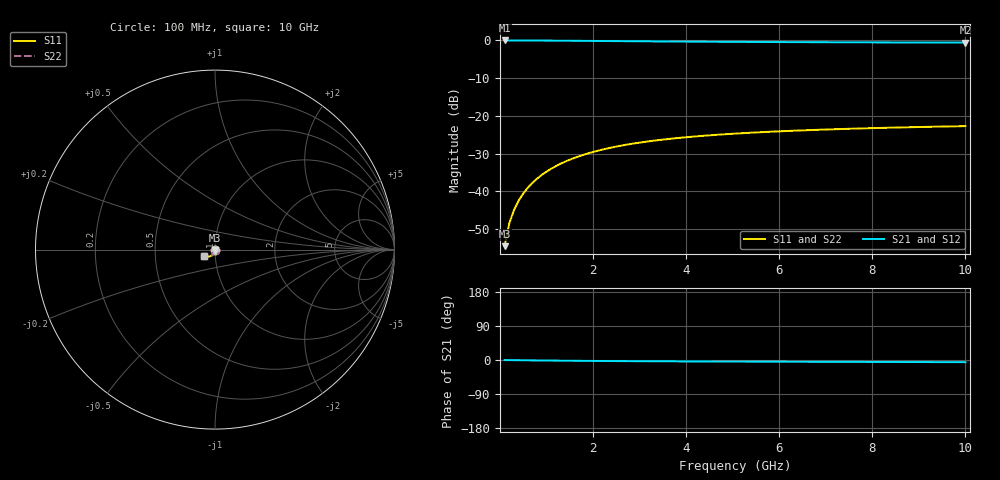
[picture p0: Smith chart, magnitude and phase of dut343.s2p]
! Touchstone file exported from HFSS 2024.1.0
!  File:  C:/UserFiles/LocalFiles/RDL_TSV_Batchsim/temp_TSV1_343_1779619244.aedt
!  Generated:  06:45:17 PM May 24, 2026
!  Design:  TSV1
!  Project:  temp_TSV1_343_1779619244
!  Setup:  Setup1
!  Solution:  Sweep
! Variables:
!  dtsv = 13.43um
!  hbump = 3um
!  htsv = 85.91um
!  lrdl = 252.1521522um
!  p = 40
!  p1 = 41.15um
!  t = 500um
!  trdl = 3um
!  wrdl = 24.89489489um
# GHz S MA R 50.000000
! Terminal data exported
! Port[1] = TSV22_T1
! Port[2] = TSV22_T2
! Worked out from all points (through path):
!   100 points, 100 MHz to 10 GHz, reference 50 ohm
!   highest |S21| = 0.00 dB at 100 MHz (marker M1); lowest = -0.6 dB at 10 GHz (marker M2)
!   lowest |S11| = -54.5 dB at 100 MHz (marker M3), VSWR 1.00, Z = 50 - j0.188 ohm
!   |S11| at or under -10 dB: start of sweep to end of sweep
!   |S22| runs from -54.5 to -22.7 dB; largest |S21 - S12| = 4.5e-15
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0.1  0.001882 -88.5  0.9999 -0.1  0.9999 -0.1  0.001882 -88.5
! Gamma 0 0 0 0
! Port Impedance 50 0 50 0
0.2  0.003767 -91.6  0.9997 -0.3  0.9997 -0.3  0.003767 -91.6
0.3  0.005651 -93.6  0.9995 -0.4  0.9995 -0.4  0.005651 -93.6
0.4  0.007524 -95.2  0.9991 -0.6  0.9991 -0.6  0.007524 -95.2
0.5  0.00938 -96.8  0.9987 -0.7  0.9987 -0.7  0.00938 -96.8
0.6  0.01122 -98.3  0.9982 -0.9  0.9982 -0.9  0.01122 -98.3
0.7  0.01303 -99.7  0.9976 -1.0  0.9976 -1.0  0.01303 -99.7
0.8  0.01481 -101.1  0.9969 -1.1  0.9969 -1.1  0.01481 -101.1
0.9  0.01656 -102.5  0.9962 -1.3  0.9962 -1.3  0.01656 -102.5
1.1  0.01996 -105.2  0.9945 -1.5  0.9945 -1.5  0.01996 -105.2
1.4  0.02478 -109.0  0.9917 -1.9  0.9917 -1.9  0.02478 -109.0
1.6  0.02779 -111.4  0.9897 -2.1  0.9897 -2.1  0.02779 -111.4
1.8  0.03063 -113.7  0.9876 -2.3  0.9876 -2.3  0.03063 -113.7
2.1  0.03458 -117.0  0.9843 -2.5  0.9843 -2.5  0.03458 -117.0
2.5  0.03927 -120.8  0.98 -2.8  0.98 -2.8  0.03927 -120.8
2.9  0.04338 -124.3  0.9759 -3.1  0.9759 -3.1  0.04338 -124.3
3.4  0.04779 -128.1  0.971 -3.4  0.971 -3.4  0.04779 -128.1
4.2  0.05352 -133.1  0.9641 -3.8  0.9641 -3.8  0.05352 -133.1
5.1  0.05854 -137.5  0.9576 -4.2  0.9576 -4.2  0.05854 -137.5
6.7  0.06507 -143.3  0.9486 -4.7  0.9486 -4.7  0.06507 -143.3
8.4  0.06992 -147.7  0.9419 -5.2  0.9419 -5.2  0.06992 -147.7
10  0.07327 -150.8  0.9372 -5.7  0.9372 -5.7  0.07327 -150.8
